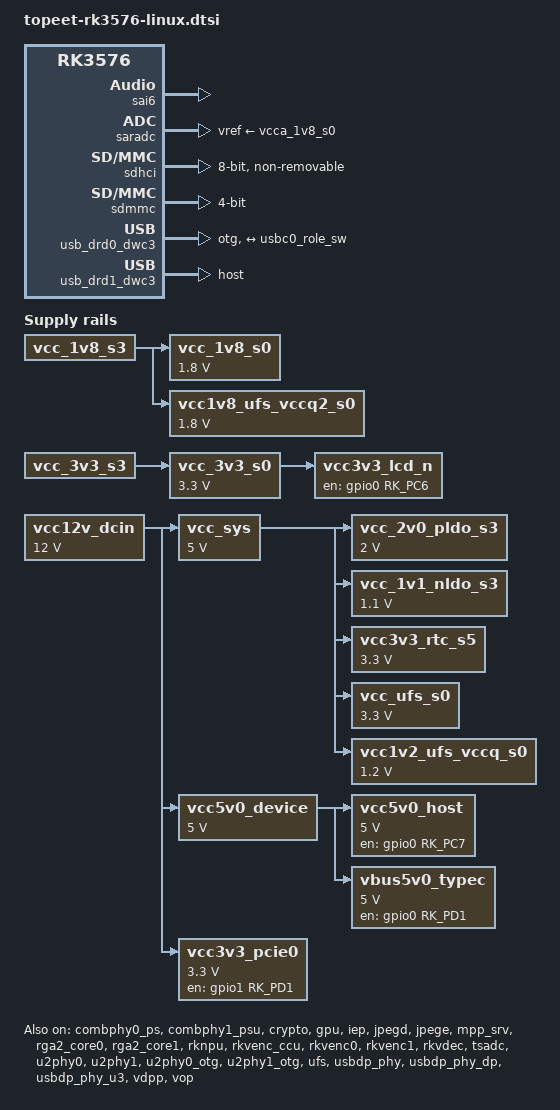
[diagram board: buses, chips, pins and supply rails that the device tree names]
// SPDX-License-Identifier: (GPL-2.0+ OR MIT)
/*
 * Copyright (c) 2024 Rockchip Electronics Co., Ltd.
 *
 */

#include <dt-bindings/gpio/gpio.h>
#include <dt-bindings/pwm/pwm.h>
#include <dt-bindings/pinctrl/rockchip.h>
#include <dt-bindings/input/rk-input.h>
#include <dt-bindings/display/drm_mipi_dsi.h>
#include <dt-bindings/display/rockchip_vop.h>
#include <dt-bindings/sensor-dev.h>
#include "rk3576-evb-input-keymap.dtsi"

/ {

	vcc12v_dcin: vcc12v-dcin {
		compatible = "regulator-fixed";
		regulator-name = "vcc12v_dcin";
		regulator-always-on;
		regulator-boot-on;
		regulator-min-microvolt = <12000000>;
		regulator-max-microvolt = <12000000>;
	};

	vcc_sys: vcc5v0-sys {
		compatible = "regulator-fixed";
		regulator-name = "vcc_sys";
		regulator-always-on;
		regulator-boot-on;
		regulator-min-microvolt = <5000000>;
		regulator-max-microvolt = <5000000>;
		vin-supply = <&vcc12v_dcin>;
	};

	vcc5v0_device: vcc5v0-device {
		compatible = "regulator-fixed";
		regulator-name = "vcc5v0_device";
		regulator-always-on;
		regulator-boot-on;
		regulator-min-microvolt = <5000000>;
		regulator-max-microvolt = <5000000>;
		vin-supply = <&vcc12v_dcin>;
	};

	vcc_2v0_pldo_s3: vcc-2v0-pldo-s3 {
		compatible = "regulator-fixed";
		regulator-name = "vcc_2v0_pldo_s3";
		regulator-boot-on;
		regulator-always-on;
		regulator-min-microvolt = <2000000>;
		regulator-max-microvolt = <2000000>;
		vin-supply = <&vcc_sys>;
	};

	vcc_1v1_nldo_s3: vcc-1v1-nldo-s3 {
		compatible = "regulator-fixed";
		regulator-name = "vcc_1v1_nldo_s3";
		regulator-boot-on;
		regulator-always-on;
		regulator-min-microvolt = <1100000>;
		regulator-max-microvolt = <1100000>;
		vin-supply = <&vcc_sys>;
	};

	vcc3v3_rtc_s5: vcc3v3-rtc-s5 {
		compatible = "regulator-fixed";
		regulator-name = "vcc3v3_rtc_s5";
		regulator-boot-on;
		regulator-always-on;
		regulator-min-microvolt = <3300000>;
		regulator-max-microvolt = <3300000>;
		vin-supply = <&vcc_sys>;
	};
    vcc_1v8_s0: vcc-1v8-s0 {
        compatible = "regulator-fixed";
        regulator-name = "vcc_1v8_s0";
        regulator-boot-on;
        regulator-always-on;
        regulator-min-microvolt = <1800000>;
        regulator-max-microvolt = <1800000>;
        vin-supply = <&vcc_1v8_s3>;
    };

    vcc_3v3_s0: vcc-3v3-s0 {
        compatible = "regulator-fixed";
        regulator-name = "vcc_3v3_s0";
        regulator-boot-on;
        regulator-always-on;
        regulator-min-microvolt = <3300000>;
        regulator-max-microvolt = <3300000>;
        vin-supply = <&vcc_3v3_s3>;
    };

    vcc_ufs_s0: vcc-ufs-s0 {
        compatible = "regulator-fixed";
        regulator-name = "vcc_ufs_s0";
        regulator-boot-on;
        regulator-always-on;
        regulator-min-microvolt = <3300000>;
        regulator-max-microvolt = <3300000>;
        vin-supply = <&vcc_sys>;
    };

    vcc1v8_ufs_vccq2_s0: vcc1v8-ufs-vccq2-s0 {
        compatible = "regulator-fixed";
        regulator-name = "vcc1v8_ufs_vccq2_s0";
        regulator-boot-on;
        regulator-always-on;
        regulator-min-microvolt = <1800000>;
        regulator-max-microvolt = <1800000>;
        vin-supply = <&vcc_1v8_s3>;
    };

    vcc1v2_ufs_vccq_s0: vcc1v2-ufs-vccq-s0 {
        compatible = "regulator-fixed";
        regulator-name = "vcc1v2_ufs_vccq_s0";
        regulator-boot-on;
        regulator-always-on;
        regulator-min-microvolt = <1200000>;
        regulator-max-microvolt = <1200000>;
        vin-supply = <&vcc_sys>;
    };

    vcc3v3_lcd_n: vcc3v3-lcd0-n {
        compatible = "regulator-fixed";
        regulator-name = "vcc3v3_lcd0_n";
        regulator-boot-on;
        enable-active-high;
        gpio = <&gpio0 RK_PC6 GPIO_ACTIVE_HIGH>;
        vin-supply = <&vcc_3v3_s0>;
    };

    vcc5v0_host: vcc5v0-host {
        compatible = "regulator-fixed";
        regulator-name = "vcc5v0_host";
        regulator-boot-on;
        regulator-always-on;
        regulator-min-microvolt = <5000000>;
        regulator-max-microvolt = <5000000>;
        enable-active-high;
        gpio = <&gpio0 RK_PC7 GPIO_ACTIVE_HIGH>;
        vin-supply = <&vcc5v0_device>;
        pinctrl-names = "default";
        pinctrl-0 = <&usb_host_pwren>;
    };

    vbus5v0_typec: vbus5v0-typec {
        compatible = "regulator-fixed";
        regulator-name = "vbus5v0_typec";
        regulator-min-microvolt = <5000000>;
        regulator-max-microvolt = <5000000>;
        enable-active-high;
        gpio = <&gpio0 RK_PD1 GPIO_ACTIVE_HIGH>;
        vin-supply = <&vcc5v0_device>;
        pinctrl-names = "default";
        pinctrl-0 = <&usb_otg0_pwren>;
    };

    vcc3v3_pcie0: vcc3v3-pcie0 {
        compatible = "regulator-fixed";
        regulator-name = "vcc3v3_pcie0";
        regulator-min-microvolt = <3300000>;
        regulator-max-microvolt = <3300000>;
        regulator-boot-on;
        regulator-always-on;
        enable-active-high;
        gpio = <&gpio1 RK_PD1 GPIO_ACTIVE_HIGH>;
        vin-supply = <&vcc12v_dcin>;
        pinctrl-names = "default";
        pinctrl-0 = <&pcie0_pwren>;
    };
};

&pinctrl {
    usb {
        usb_host_pwren: usb-host-pwren {
            rockchip,pins = <0 RK_PC7 RK_FUNC_GPIO &pcfg_pull_none>;
        };

        usb_otg0_pwren: usb-otg0-pwren {
            rockchip,pins = <0 RK_PD1 RK_FUNC_GPIO &pcfg_pull_none>;
        };
    };

    pcie0 {
        pcie0_pwren: pcie0-pwren {
            rockchip,pins = <1 RK_PD1 RK_FUNC_GPIO &pcfg_pull_none>;
        };
    };
};

&combphy0_ps {
	status = "okay";
};

&combphy1_psu {
	status = "okay";
};

&cpu_l0 {
	cpu-supply = <&vdd_cpu_lit_s0>;
};

&cpu_b0 {
	cpu-supply = <&vdd_cpu_big_s0>;
};

&crypto {
	status = "okay";
};


&gpu {
	mali-supply = <&vdd_gpu_s0>;
	status = "okay";
};



&iep {
	status = "okay";
};

&iep_mmu {
	status = "okay";
};

&jpegd {
	status = "okay";
};

&jpege {
	status = "okay";
};

&jpeg_mmu {
	status = "okay";
};

&mpp_srv {
	status = "okay";
};


&rga2_core0 {
	status = "okay";
};

&rga2_core0_mmu {
	status = "okay";
};

&rga2_core1 {
	status = "okay";
};

&rga2_core1_mmu {
	status = "okay";
};

&rknpu {
	rknpu-supply = <&vdd_npu_s0>;
	status = "okay";
};

&rknpu_mmu {
	status = "okay";
};

&rkvenc_ccu {
	status = "okay";
};

&rkvenc0 {
	status = "okay";
};

&rkvenc0_mmu {
	status = "okay";
};

&rkvenc1 {
	status = "okay";
};

&rkvenc1_mmu {
	status = "okay";

};

&rkvdec {
	status = "okay";
};

&rkvdec_mmu {
	status = "okay";
};

&rockchip_suspend {
	status = "okay";
	rockchip,sleep-debug-en = <1>;

	rockchip,sleep-io-ret-config = <
		(0
		| RKPM_VCCIO3_RET_EN
		)
	>;

	rockchip,regulator-on-before-mem = <&vdd_npu_s0>;
};


&sai6 {
	status = "okay";
};

&saradc {
	status = "okay";
	vref-supply = <&vcca_1v8_s0>;
};

&sdhci {
	bus-width = <8>;
	no-sdio;
	no-sd;
	non-removable;
	max-frequency = <200000000>;
	mmc-hs400-1_8v;
	mmc-hs400-enhanced-strobe;
	full-pwr-cycle-in-suspend;
	status = "okay";
};

&sdmmc {
	max-frequency = <200000000>;
	no-sdio;
	no-mmc;
	bus-width = <4>;
	cap-mmc-highspeed;
	cap-sd-highspeed;
	disable-wp;
	sd-uhs-sdr104;
	vqmmc-supply = <&vccio_sd_s0>;
	status = "okay";
};

&tsadc {
	status = "okay";
};

&u2phy0 {
	status = "okay";
};

&u2phy1 {
	status = "okay";
};

&u2phy0_otg {
	rockchip,typec-vbus-det;
	status = "okay";
};

&u2phy1_otg {
	phy-supply = <&vcc5v0_host>;
	status = "okay";
};

&ufs {
	status = "okay";
	reset-gpios = <&gpio4 RK_PD0 GPIO_ACTIVE_HIGH>;
};

&usbdp_phy {
	status = "okay";
    orientation-switch;
    svid = <0xff01>;
    sbu1-dc-gpios = <&gpio2 RK_PA6 GPIO_ACTIVE_HIGH>;
    sbu2-dc-gpios = <&gpio2 RK_PA7 GPIO_ACTIVE_HIGH>;

    port {
        #address-cells = <1>;
        #size-cells = <0>;

        usbdp_phy_orientation_switch: endpoint@0 {
            reg = <0>;
            remote-endpoint = <&usbc0_orien_sw>;
        };

        usbdp_phy_dp_altmode_mux: endpoint@1 {
            reg = <1>;
            remote-endpoint = <&dp_altmode_mux>;
        };
    };
};

&usbdp_phy_dp {
	status = "okay";
};

&usbdp_phy_u3 {
	status = "okay";
};

&usb_drd0_dwc3 {
	status = "okay";
    dr_mode = "otg";
    usb-role-switch;
    port {
        usb_drd0_role_switch: endpoint {
            remote-endpoint = <&usbc0_role_sw>;
        };
    };
};

&usb_drd1_dwc3 {
    dr_mode = "host";
    status = "okay";
};

&vdpp {
	status = "okay";
};

&vop {
	status = "okay";
	vop-supply = <&vdd_logic_s0>;
};

&vop_mmu {
	status = "okay";
};

&vp2 {
	assigned-clocks = <&cru DCLK_VP2_SRC>;
	assigned-clock-parents = <&cru PLL_VPLL>;
};
